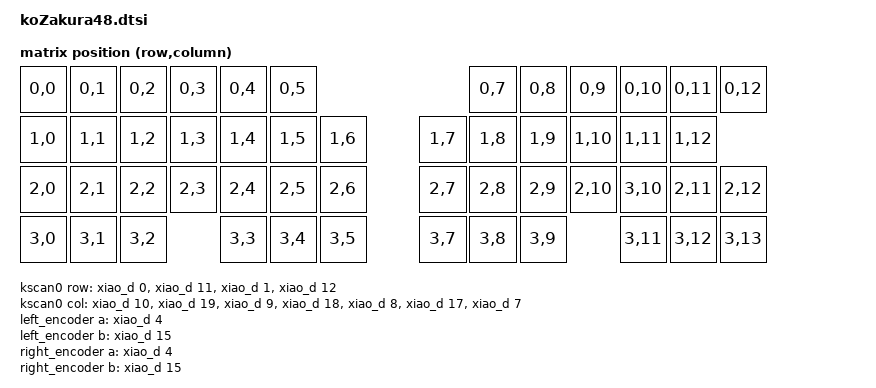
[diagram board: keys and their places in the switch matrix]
#include <dt-bindings/zmk/matrix_transform.h>
#include <dt-bindings/zmk/input_transform.h>
#include <input/processors.dtsi>

/ {
    chosen {
        zmk,kscan = &kscan0;
        zmk,matrix_transform = &default_transform;
    };

    default_transform: keymap_transform_0 {
        compatible = "zmk,matrix-transform";
        columns = <14>;
        rows = <4>;               
        map = <
            RC(0,0) RC(0,1) RC(0,2) RC(0,3) RC(0,4) RC(0,5)                            RC(0,7) RC(0,8) RC(0,9)  RC(0,10) RC(0,11) RC(0,12)
            RC(1,0) RC(1,1) RC(1,2) RC(1,3) RC(1,4) RC(1,5) RC(1,6)            RC(1,7) RC(1,8) RC(1,9) RC(1,10) RC(1,11) RC(1,12)
            RC(2,0) RC(2,1) RC(2,2) RC(2,3) RC(2,4) RC(2,5) RC(2,6)            RC(2,7) RC(2,8) RC(2,9) RC(2,10) RC(3,10) RC(2,11) RC(2,12) 
            RC(3,0) RC(3,1) RC(3,2)         RC(3,3) RC(3,4) RC(3,5)            RC(3,7) RC(3,8) RC(3,9)          RC(3,11) RC(3,12) RC(3,13)         
        >;
    };
    
    kscan0: kscan {
        compatible = "zmk,kscan-gpio-matrix";
        label = "KSCAN";
        diode-direction = "col2row";
            row-gpios
                = <&xiao_d 0 (GPIO_ACTIVE_HIGH | GPIO_PULL_DOWN)> 
                , <&xiao_d 11 (GPIO_ACTIVE_HIGH | GPIO_PULL_DOWN)> 
                , <&xiao_d 1 (GPIO_ACTIVE_HIGH | GPIO_PULL_DOWN)> 
                , <&xiao_d 12 (GPIO_ACTIVE_HIGH | GPIO_PULL_DOWN)> 			
                ;
            col-gpios
                = <&xiao_d 10 GPIO_ACTIVE_HIGH>
                , <&xiao_d 19 GPIO_ACTIVE_HIGH> 
                , <&xiao_d 9 GPIO_ACTIVE_HIGH> 
                , <&xiao_d 18 GPIO_ACTIVE_HIGH> 
                , <&xiao_d 8 GPIO_ACTIVE_HIGH>
                , <&xiao_d 17 GPIO_ACTIVE_HIGH>
                , <&xiao_d 7 GPIO_ACTIVE_HIGH>
                ;
    };

    left_encoder: encoder_left {
        compatible = "alps,ec11";
        a-gpios = <&xiao_d 4 (GPIO_ACTIVE_HIGH | GPIO_PULL_UP)>;
        b-gpios = <&xiao_d 15 (GPIO_ACTIVE_HIGH | GPIO_PULL_UP)>;
        steps = <24>;
        status = "disabled";
    };

    right_encoder: encoder_right {
        compatible = "alps,ec11"; //お試し追加
        a-gpios = <&xiao_d 4 (GPIO_ACTIVE_HIGH | GPIO_PULL_UP)>; //お試し追加
        b-gpios = <&xiao_d 15 (GPIO_ACTIVE_HIGH | GPIO_PULL_UP)>; //お試し追加
        steps = <24>; //お試し追加
        status = "disabled";
    };

  //left hand trackball　mona2ファームにtweakbitトラボファームをお試し移植
    split_inputs {
        #address-cells = <1>;
        #size-cells = <0>;

        trackball_peripheral_split: trackball_peripheral_split@0 {
            compatible = "zmk,input-split";
            reg = <0>;
        };
    };

    trackball_peripheral_listener: trackball_peripheral_listener {
        compatible = "zmk,input-listener";
        status = "disabled";
        device = <&trackball_peripheral_split>;
        input-processors =
            <&zip_xy_transform INPUT_TRANSFORM_XY_SWAP>;       //this gets it to the default installation orientation
            //<&zip_temp_layer 5 500>,                         //オートマウスレイヤーの選択
    };
    
    //right hand trackball
    trackball_central_listener: trackball_central_listener {
        compatible = "zmk,input-listener";
        status = "disabled";
        input-processors = 
            <&zip_xy_transform INPUT_TRANSFORM_XY_SWAP>,        //this gets it to the default installation orientation
            <&zip_xy_scaler 1 7>,                               //感度を1/7倍に変更(スクロールが遅くなる)
            <&zip_xy_to_scroll_mapper>;                         //スクロールモードに変更
            //<&zip_scroll_transform INPUT_TRANSFORM_Y_INVERT>;   //invert vertical scrolling so that the view moves in the same direction as the top of the trackball.
    };

    sensors: sensors {
        compatible = "zmk,keymap-sensors";
        sensors = <&left_encoder &right_encoder>;
        triggers-per-rotation = <10>;
    };
};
